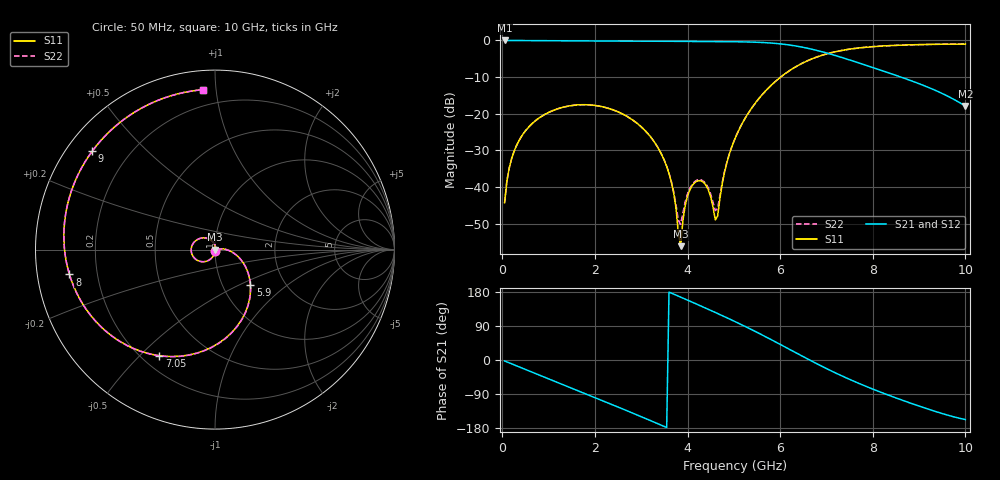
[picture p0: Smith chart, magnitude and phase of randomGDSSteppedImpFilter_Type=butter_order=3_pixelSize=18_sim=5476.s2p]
! freq	dB(S11)	phase(S11)	dB(S12)	phase(S12)
!  dB(S21)	phase(S21)	dB(S22)	phase(S22)
!S-par simulation data
#  GHz  S  DB  R 50
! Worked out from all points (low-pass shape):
!   200 points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, 50 MHz to 10 GHz, reference 50 ohm
!   highest |S21| = -0.01 dB at 50 MHz (marker M1); lowest = -17.9 dB at 10 GHz (marker M2)
!   |S21| within 3 dB of the highest: start of sweep to 6.881 GHz
!   lowest |S11| = -56.1 dB at 3.85 GHz (marker M3), VSWR 1.00, Z = 50.1 - j0.101 ohm
!   |S11| at or under -10 dB: start of sweep to 6.01 GHz
!   |S22| runs from -50.1 to -1.0 dB; largest |S21 - S12| = 0
!   S11 on the Smith chart (normalised r, x): 50 MHz: 1.00, -0.01; 5.9 GHz: 1.35, -0.57; 7.05 GHz: 0.27, -0.57; 8 GHz: 0.10, -0.08; 9 GHz: 0.07, +0.35; 10 GHz: 0.10, +0.92
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0.05  -44.27 -90.1  -0.01 -2.5  -0.01 -2.5  -44.27 -90.1
0.2  -32.31 -99.7  -0.02 -10.0  -0.02 -10.0  -32.31 -99.7
0.5  -24.65 -115.4  -0.05 -25.0  -0.05 -25.0  -24.66 -115.4
1.75  -17.52 -177.6  -0.18 -86.7  -0.18 -86.7  -17.53 -177.9
2.5  -19.47 145.0  -0.19 -124.1  -0.19 -124.1  -19.47 144.4
3.4  -30.11 97.8  -0.22 -170.3  -0.22 -170.3  -30.10 94.8
3.65  -38.59 81.2  -0.23 176.6  -0.23 176.6  -38.42 73.2
3.85  -56.10 -40.0  -0.25 166.0  -0.25 166.0  -50.15 -27.5
3.95  -44.99 -94.1  -0.26 160.7  -0.26 160.7  -44.01 -79.5
4.15  -38.84 -110.7  -0.28 150.0  -0.28 150.0  -38.55 -103.0
4.4  -39.52 -119.8  -0.30 136.5  -0.30 136.5  -39.15 -112.4
4.6  -48.93 -77.8  -0.31 125.5  -0.31 125.5  -46.40 -72.0
4.65  -47.91 -28.1  -0.32 122.7  -0.32 122.7  -45.79 -34.8
4.8  -35.87 9.7  -0.33 114.3  -0.33 114.3  -35.70 5.9
5.05  -26.03 3.8  -0.36 100.0  -0.36 100.0  -26.01 2.9
5.9  -11.15 -44.6  -0.81 47.8  -0.81 47.8  -11.15 -44.5
6.7  -4.95 -96.1  -2.44 -4.1  -2.44 -4.1  -4.95 -95.8
7.05  -3.51 -117.7  -3.59 -25.6  -3.59 -25.6  -3.51 -117.5
8  -1.70 -170.3  -7.38 -76.8  -7.38 -76.8  -1.70 -170.1
8.35  -1.42 172.2  -8.87 -93.3  -8.87 -93.3  -1.43 172.4
9  -1.14 141.2  -11.80 -121.6  -11.80 -121.6  -1.14 141.3
10  -0.98 94.3  -17.90 -157.2  -17.90 -157.2  -0.98 94.3
